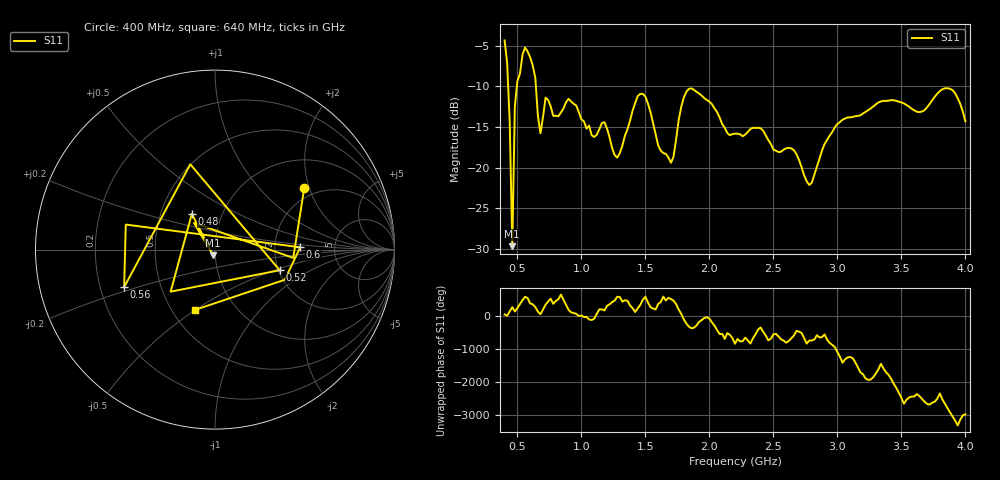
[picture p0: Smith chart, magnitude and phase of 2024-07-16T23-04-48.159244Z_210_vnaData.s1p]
!Created with skrf (http://scikit-rf.org).
# Hz S RI R 50.0
!freq ReS11 ImS11
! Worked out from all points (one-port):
!   181 points, 400 MHz to 4 GHz, reference 50 ohm
!   lowest |S11| = -29.6 dB at 460 MHz (marker M1), VSWR 1.07, Z = 48.8 - j3.03 ohm
!   |S11| at or under -10 dB: 427.8 MHz to 495.9 MHz (68.12 MHz wide, 14.8 % of centre); 644.4 MHz to end of sweep
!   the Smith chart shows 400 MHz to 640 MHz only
!   S11 on the Smith chart (normalised r, x): 400 MHz: 1.71, +1.85; 480 MHz: 0.72, +0.30; 520 MHz: 2.03, -0.55; 560 MHz: 0.30, -0.18; 600 MHz: 2.81, +0.09; 640 MHz: 0.64, -0.50
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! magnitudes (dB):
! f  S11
! 400 MHz  -4.4
! 420 MHz  -7.2
! 440 MHz  -14.5
! 460 MHz  -29.6
! 480 MHz  -12.5
! 520 MHz  -8.4
! 560 MHz  -5.2
! 600 MHz  -6.5
! 640 MHz  -9.0
! 680 MHz  -15.8
! 720 MHz  -11.4
! 860 MHz  -12.7
! 960 MHz  -12.4
! 1.1 GHz  -16.2
! 1.18 GHz  -14.4
! 1.3 GHz  -18.2
! 1.46 GHz  -10.9
! 1.7 GHz  -19.4
! 1.76 GHz  -14.2
! 1.86 GHz  -10.3
! 2.2 GHz  -15.8
! 2.66 GHz  -17.9
! 2.78 GHz  -22.1
! 2.9 GHz  -17.1
! 3.1 GHz  -13.8
! 3.56 GHz  -12.5
! 3.88 GHz  -10.3
! 4 GHz  -14.3
